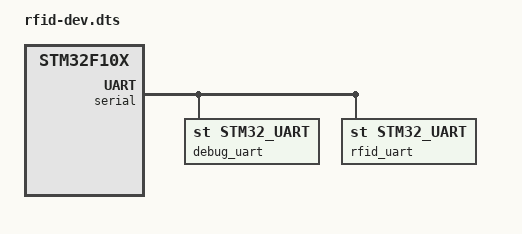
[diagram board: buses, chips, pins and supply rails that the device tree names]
/dts-v1/;

#define STM32F10X_MD

#include "stm32f10x.dtsi"
#include "stm32f10x.h"
#include "stm32f10x_gpio.h"

/ {
	leds: leds {
		compatible = "st,stm32_leds";
		inverted = <1>;
		pins = <&led_pins>;
	};

	serial {
		debug_uart: debug {
			compatible = "st,stm32_uart";
			baud = <115200>;
			reg = <USART1>;
			interrupt = <USART1_IRQn>;
		};
		rfid_uart: rfid {
			compatible = "st,stm32_uart";
			baud = <115200>;
			reg = <USART2>;
			interrupt = <USART2_IRQn>;
		};
	};

	gpio {
		compatible = "st,stm32_gpio";
		led_pins: led_pins {
			pinctrl = <
				GPIOB GPIO_Pin_13 (GPIO_Mode_Out_PP)
				GPIOB GPIO_Pin_14 (GPIO_Mode_Out_PP)
			>;
		};

		debug_serial_pins {
			pinctrl = <
				GPIOA GPIO_Pin_9  (GPIO_Mode_AF_PP | GPIO_Speed_50MHz) /* TX */
				GPIOA GPIO_Pin_10 (GPIO_Mode_AF_PP | GPIO_Speed_50MHz) /* RX */
			>;
		};

		rfid_serial_pins {
			pinctrl = <
				GPIOA GPIO_Pin_2 (GPIO_Mode_AF_PP | GPIO_Speed_50MHz) /* TX */
				GPIOA GPIO_Pin_3 (GPIO_Mode_AF_PP | GPIO_Speed_50MHz) /* RX */
			>;
		};
	};
};

